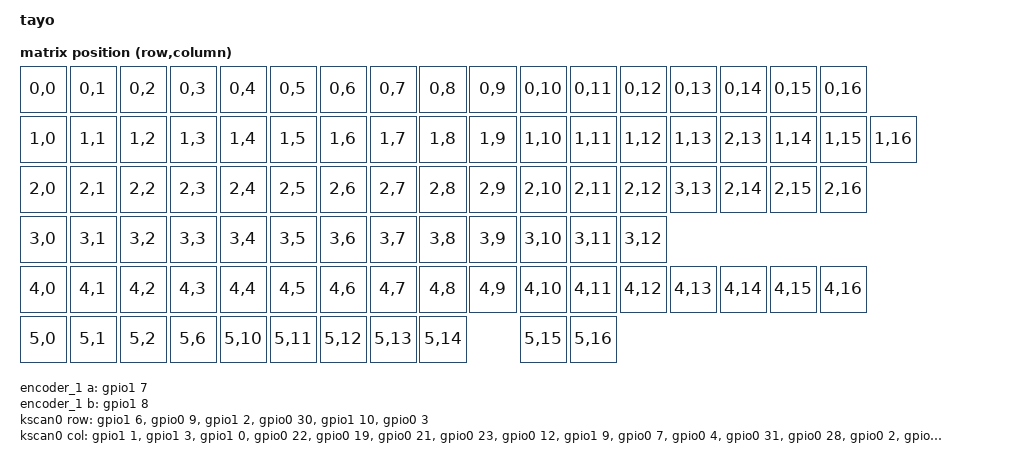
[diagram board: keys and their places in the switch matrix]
/*
 * Copyright (c) 2021 The ZMK Contributors
 *
 * SPDX-License-Identifier: MIT
 */

/dts-v1/;
#include <nordic/nrf52840_qiaa.dtsi>
#include <dt-bindings/zmk/matrix_transform.h>
#include <dt-bindings/led/led.h>

/ {
    model = "tayo";
    compatible = "tayo";

    chosen {
        zephyr,code-partition = &code_partition;
        zephyr,sram = &sram0;
        zephyr,flash = &flash0;
		zephyr,console = &cdc_acm_uart;
        zmk,kscan = &kscan0;
		zmk,battery = &vbatt;
        zmk,matrix_transform = &default_transform;
		zmk,underglow = &led_strip;
    };

    leds {
        compatible = "gpio-leds";
        blue_led: led_0 {
            gpios = <&gpio0 25 GPIO_ACTIVE_HIGH>;
            label = "Blue LED";
        };
    };

    vbatt: vbatt {
		compatible = "zmk,battery-voltage-divider";
		label = "BATTERY";
        io-channels = <&adc 3>;
		output-ohms = <2000000>;
		full-ohms = <(2000000 + 806000)>;
	};

    // Encoder
    encoder_1: encoder_1 {
        compatible = "alps,ec11";
        label = "Encoder 1";
        a-gpios = <&gpio1 7 (GPIO_ACTIVE_LOW | GPIO_PULL_UP)>;
        b-gpios = <&gpio1 8 (GPIO_ACTIVE_LOW | GPIO_PULL_UP)>;
        resolution = <4>;
        status = "okay";
    };


    sensors {
        compatible = "zmk,keymap-sensors";
        sensors = <&encoder_1>;
    };

    kscan0: kscan_0 {
        compatible = "zmk,kscan-gpio-matrix";
        label = "KSCAN";
        diode-direction = "col2row";

        row-gpios
            = <&gpio1 6 (GPIO_ACTIVE_HIGH | GPIO_PULL_DOWN)>       // R1
            , <&gpio0 9 (GPIO_ACTIVE_HIGH | GPIO_PULL_DOWN)>       // R2
            , <&gpio1 2 (GPIO_ACTIVE_HIGH | GPIO_PULL_DOWN)>       // R3
            , <&gpio0 30  (GPIO_ACTIVE_HIGH | GPIO_PULL_DOWN)>       // R4
            , <&gpio1 10  (GPIO_ACTIVE_HIGH | GPIO_PULL_DOWN)>       // R5
            , <&gpio0 3  (GPIO_ACTIVE_HIGH | GPIO_PULL_DOWN)>       // R6
            ;

        col-gpios
            = <&gpio1 1 GPIO_ACTIVE_HIGH >     // C1
            , <&gpio1 3 GPIO_ACTIVE_HIGH >     // C2
            , <&gpio1 0 GPIO_ACTIVE_HIGH >     // C3
            , <&gpio0 22 GPIO_ACTIVE_HIGH >      // C4
            , <&gpio0 19  GPIO_ACTIVE_HIGH >    // C5
            , <&gpio0 21  GPIO_ACTIVE_HIGH >     // C6
            , <&gpio0 23  GPIO_ACTIVE_HIGH >    // C7
            , <&gpio0 12  GPIO_ACTIVE_HIGH >     // C8
            , <&gpio1 9 GPIO_ACTIVE_HIGH >      // C9
            , <&gpio0 7 GPIO_ACTIVE_HIGH >     // C10
            , <&gpio0 4 GPIO_ACTIVE_HIGH >     // C11
            , <&gpio0 31 GPIO_ACTIVE_HIGH >     // C12
            , <&gpio0 28 GPIO_ACTIVE_HIGH >     // C13
            , <&gpio0 2 GPIO_ACTIVE_HIGH >      // C14
            , <&gpio1 15 GPIO_ACTIVE_HIGH >      // C15
            , <&gpio1 13 GPIO_ACTIVE_HIGH >      // C16
            , <&gpio1 11 GPIO_ACTIVE_HIGH >      // C17
            ;
    };

    default_transform: keymap_transform_0 {
        compatible = "zmk,matrix-transform";
        columns = <17>;
        rows = <5>;

        map = <
            RC(0,0) RC(0,1) RC(0,2) RC(0,3) RC(0,4) RC(0,5) RC(0,6) RC(0,7) RC(0,8) RC(0,9)  RC(0,10) RC(0,11) RC(0,12) RC(0,13) RC(0,14) RC(0,15) RC(0,16)   
            RC(1,0) RC(1,1) RC(1,2) RC(1,3) RC(1,4) RC(1,5) RC(1,6) RC(1,7) RC(1,8) RC(1,9)  RC(1,10) RC(1,11) RC(1,12) RC(1,13) RC(2,13) RC(1,14) RC(1,15) RC(1,16)
            RC(2,0) RC(2,1) RC(2,2) RC(2,3) RC(2,4) RC(2,5) RC(2,6) RC(2,7) RC(2,8) RC(2,9)  RC(2,10) RC(2,11) RC(2,12) RC(3,13) RC(2,14) RC(2,15) RC(2,16)  
            RC(3,0) RC(3,1) RC(3,2) RC(3,3) RC(3,4) RC(3,5) RC(3,6) RC(3,7) RC(3,8) RC(3,9)  RC(3,10) RC(3,11) RC(3,12)
            RC(4,0) RC(4,1) RC(4,2) RC(4,3) RC(4,4) RC(4,5) RC(4,6) RC(4,7) RC(4,8) RC(4,9)  RC(4,10) RC(4,11) RC(4,12) RC(4,13) RC(4,14) RC(4,15) RC(4,16)
            RC(5,0) RC(5,1) RC(5,2) RC(5,6) RC(5,10) RC(5,11) RC(5,12) RC(5,13) RC(5,14) RC(5,15) RC(5,16) 
            
        >;
    };
};

&adc {
    status = "okay";
};

&gpiote {
    status = "okay";
};

&gpio0 {
    status = "okay";
};

&gpio1 {
    status = "okay";
};

&usbd {
    status = "okay";
};


&flash0 {
    /*
     * For more information, see:
     * http://docs.zephyrproject.org/latest/devices/dts/flash_partitions.html
     */
    partitions {
        compatible = "fixed-partitions";
        #address-cells = <1>;
        #size-cells = <1>;

        sd_partition: partition@0 {
            label = "mbr";
            reg = <0x00000000 0x00001000>;
        };
        code_partition: partition@1000 {
            label = "code_partition";
            reg = <0x00001000 0x000d3000>;
        };

        storage_partition: partition@d4000 {
            label = "storage";
            reg = <0x000d4000 0x00020000>;
        };

        boot_partition: partition@f4000 {
            label = "adafruit_boot";
            reg = <0x000f4000 0x0000c000>;
        };
    };
};

&spi1 {
  compatible = "nordic,nrf-spim";
  status = "okay";
  mosi-pin = <9>;
  // Unused pins, needed for SPI definition, but not used by the ws2812 driver itself.
  sck-pin = <6>;
  miso-pin = <8>;

  led_strip: ws2812@0 {
    compatible = "worldsemi,ws2812-spi";
    label = "WS2812";

    /* SPI */
    reg = <0>; /* ignored, but necessary for SPI bindings */
    spi-max-frequency = <4000000>;

    /* WS2812 */
    chain-length = <18>; /* number of LEDs */
    spi-one-frame = <0x70>;
    spi-zero-frame = <0x40>;
    color-mapping = <LED_COLOR_ID_GREEN
                     LED_COLOR_ID_RED
                     LED_COLOR_ID_BLUE>;
  };
};

&usbd {
	status = "okay";
	cdc_acm_uart: cdc_acm_uart {
		compatible = "zephyr,cdc-acm-uart";
		label = "CDC_ACM_0";
	};
};
